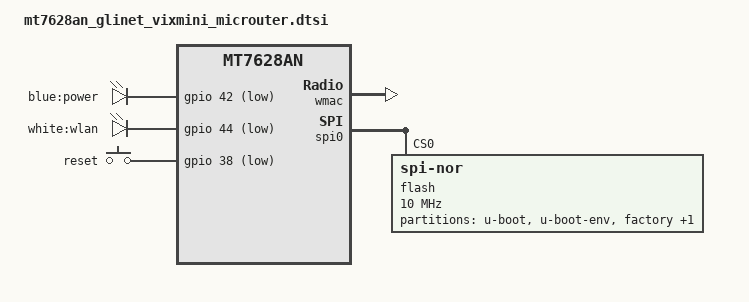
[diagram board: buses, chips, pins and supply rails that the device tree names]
// SPDX-License-Identifier: GPL-2.0-or-later OR MIT

#include "mt7628an.dtsi"

#include <dt-bindings/gpio/gpio.h>
#include <dt-bindings/input/input.h>

/ {
	aliases {
		led-boot = &led_power_blue;
		led-failsafe = &led_power_blue;
		led-running = &led_power_blue;
		led-upgrade = &led_power_blue;

		label-mac-device = &ethernet;
	};

	chosen {
		bootargs = "console=ttyS0,115200";
	};

	leds {
		compatible = "gpio-leds";

		led_power_blue: power {
			label = "blue:power";
			gpios = <&gpio 42 GPIO_ACTIVE_LOW>;
		};

		wlan {
			label = "white:wlan";
			gpios = <&gpio 44 GPIO_ACTIVE_LOW>;
			linux,default-trigger = "phy0tpt";
		};
	};

	keys {
		compatible = "gpio-keys";

		reset {
			label = "reset";
			gpios = <&gpio 38 GPIO_ACTIVE_LOW>;
			linux,code = <KEY_RESTART>;
		};
	};
};

&state_default {
	gpio {
		groups = "wdt", "wled_an", "p1led_an";
		function = "gpio";
	};
};

&ethernet {
	nvmem-cells = <&macaddr_factory_4>;
	nvmem-cell-names = "mac-address";
};

&wmac {
	status = "okay";

	mediatek,mtd-eeprom = <&factory 0x0>;
};

&spi0 {
	status = "okay";

	flash@0 {
		compatible = "jedec,spi-nor";
		reg = <0>;
		spi-max-frequency = <10000000>;

		partitions: partitions {
			compatible = "fixed-partitions";
			#address-cells = <1>;
			#size-cells = <1>;

			partition@0 {
				label = "u-boot";
				reg = <0x0 0x30000>;
				read-only;
			};

			partition@30000 {
				label = "u-boot-env";
				reg = <0x30000 0x10000>;
				read-only;
			};

			factory: partition@40000 {
				label = "factory";
				reg = <0x40000 0x10000>;
				read-only;
			};

			/*
			 * Firmware-partition size is model-specific
			 * due to different flash sizes.
			 */
			firmware_part: partition@50000 {
				compatible = "denx,uimage";
				label = "firmware";
			};
		};
	};
};

&factory {
	compatible = "nvmem-cells";
	#address-cells = <1>;
	#size-cells = <1>;

	macaddr_factory_4: macaddr@4 {
		reg = <0x4 0x6>;
	};
};
